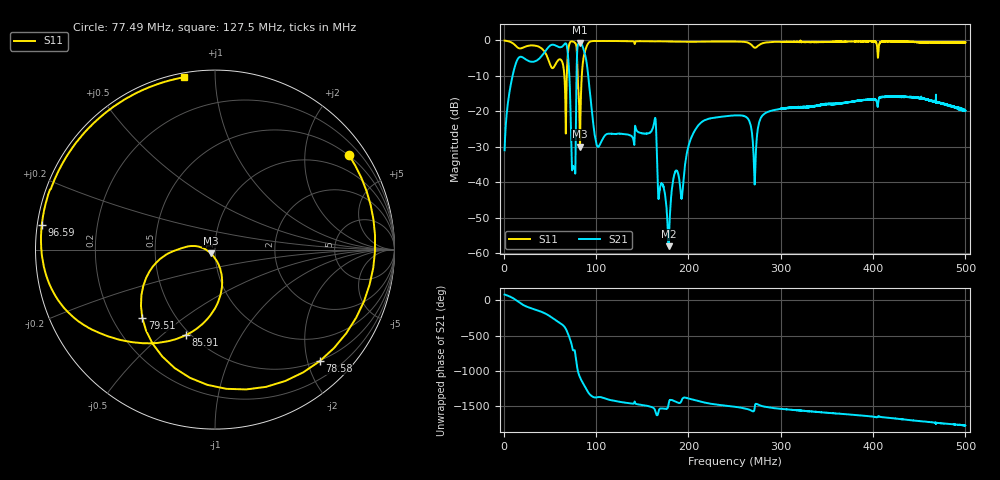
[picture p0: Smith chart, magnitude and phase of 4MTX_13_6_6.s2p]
! NanoVNA-App
! Date: 2026-08-18 21:38:28
! Start: 1MHz Stop: 500MHz Points: 6401
! S-Parameter data: F S11 S21 S12 S22
# Hz S RI R 50
!  Frequency  S11_Real  S11_Imag  S21_Real  S21_Imag  S12_Real  S12_Imag  S22_Real  S22_Imag
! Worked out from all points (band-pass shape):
!   6401 points, 1 MHz to 500 MHz, reference 50 ohm
!   highest |S21| = -0.66 dB at 82.63 MHz (marker M1); lowest = -58.0 dB at 178.5 MHz (marker M2)
!   |S21| within 3 dB of the highest: 43.5 MHz to 69.4 MHz (25.9 MHz wide, 45.9 % of centre); 79.49 MHz to 87.73 MHz (8.24 MHz wide, 9.86 % of centre)
!   lowest |S11| = -29.9 dB at 82.63 MHz (marker M3), VSWR 1.07, Z = 47.6 - j2.03 ohm
!   |S11| at or under -10 dB: 65.71 MHz to 68.33 MHz (2.624 MHz wide, 3.92 % of centre); 80.12 MHz to 84.58 MHz (4.457 MHz wide, 5.41 % of centre)
!   S12 and S22 are empty: the file has one direction only
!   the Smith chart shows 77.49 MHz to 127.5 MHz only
!   S11 on the Smith chart (normalised r, x): 77.49 MHz: 0.48, +3.07; 78.58 MHz: 0.49, -2.22; 79.51 MHz: 0.33, -0.36; 85.91 MHz: 0.47, -0.60; 96.59 MHz: 0.01, +0.07; 127.5 MHz: 0.02, +0.84
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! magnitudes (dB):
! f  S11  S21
! 1 MHz  -0.1  -31.0
! 14.8 MHz  -2.0  -5.5
! 52.77 MHz  -7.8  -1.2
! 67.66 MHz  -18.6  -1.0
! 75.15 MHz  -0.4  -35.6
! 77.49 MHz  -0.8  -37.5
! 78.58 MHz  -1.4  -15.4
! 79.51 MHz  -5.1  -3.5
! 82.63 MHz  -29.9  -0.7
! 84.19 MHz  -11.9  -1.0
! 85.91 MHz  -6.0  -2.1
! 96.59 MHz  -0.2  -22.7
! 127.5 MHz  -0.2  -26.4
! 162.8 MHz  -0.3  -23.4
! 167.4 MHz  -0.3  -44.0
! 178.5 MHz  -0.3  -58.0
! 207.9 MHz  -0.4  -25.0
! 250.5 MHz  -0.4  -21.2
! 271.8 MHz  -2.1  -40.6
! 333.7 MHz  -0.5  -18.8
! 416.9 MHz  -0.3  -15.9
! 500 MHz  -0.6  -19.8
